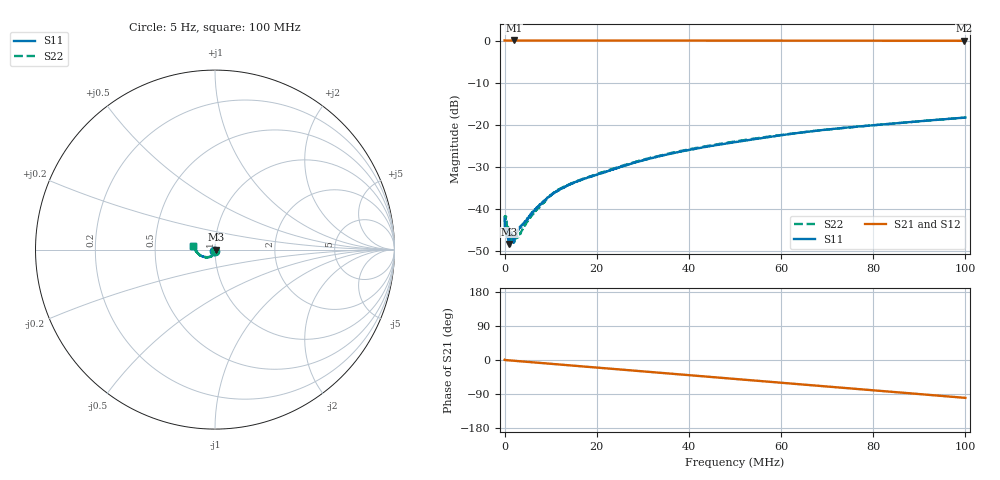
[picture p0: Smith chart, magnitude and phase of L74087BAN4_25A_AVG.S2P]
!Agilent Technologies,E5061B,MY49102235,A.02.00
!Date: Tue Jul 11 16:12:08 2023
!Data & Calibration Information:
!Freq	S11:SOLT2(ON)	S21:SOLT2(ON)	S12:SOLT2(ON)	S22:SOLT2(ON)
# Hz S RI R 50
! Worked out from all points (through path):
!   1600 points, 5 Hz to 100 MHz, reference 50 ohm
!   highest |S21| = 0.02 dB at 2.001 MHz (marker M1); lowest = -0.1 dB at 99.75 MHz (marker M2)
!   group delay of S21, straight-line fit = 2.78 ns
!   lowest |S11| = -48.3 dB at 1.001 MHz (marker M3), VSWR 1.01, Z = 50.4 - j0.0858 ohm
!   |S11| at or under -10 dB: start of sweep to end of sweep
!   |S22| runs from -48.9 to -18.3 dB; largest |S21 - S12| = 0.0025
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5  -0.00517 -0.00563  1.002 0.00803  1 0.0102  -0.00152 -0.00755
437778.6  0.00515 -0.000613  1.001 -0.00532  1.001 -0.00593  0.00665 -0.00226
625395.8  0.00509 -0.000666  1.002 -0.0104  1.002 -0.00996  0.00612 -0.00104
1000630  0.00374 -0.000852  1.001 -0.0163  1.001 -0.0159  0.00512 -0.00176
1563482  0.00431 -0.003  1.001 -0.0262  1.001 -0.0252  0.00313 -0.00357
2001256  0.00299 -0.00296  1.002 -0.0347  1.001 -0.0344  0.00315 -0.00267
2376490  0.00327 -0.00314  0.9996 -0.041  1 -0.0414  0.00393 -0.0028
3064420  0.00412 -0.00388  0.9998 -0.053  0.9991 -0.0531  0.00302 -0.00374
6003757  0.00327 -0.00824  0.9954 -0.1043  0.9956 -0.1041  0.00284 -0.00807
9505946  0.00138 -0.0136  0.9872 -0.1652  0.9874 -0.165  0.000785 -0.0136
1.156974e7  -0.000137 -0.0166  0.9808 -0.2004  0.9805 -0.2002  -0.00103 -0.0168
1.669794e7  -0.00412 -0.0218  0.9582 -0.2872  0.9582 -0.287  -0.00452 -0.022
2.582865e7  -0.0118 -0.03  0.9006 -0.4356  0.9005 -0.4355  -0.00974 -0.0314
3.333334e7  -0.021 -0.0363  0.8355 -0.5493  0.8355 -0.549  -0.0197 -0.0376
4.033771e7  -0.0308 -0.0403  0.7619 -0.6467  0.762 -0.6464  -0.0305 -0.0415
5.003127e7  -0.0457 -0.042  0.6419 -0.7655  0.6418 -0.7653  -0.046 -0.0433
6.672921e7  -0.0762 -0.0353  0.3941 -0.916  0.3944 -0.9161  -0.0755 -0.036
7.53596e7  -0.0902 -0.0255  0.2523 -0.9637  0.2524 -0.9637  -0.0896 -0.0267
8.33646e7  -0.1014 -0.0126  0.1158 -0.9887  0.1158 -0.9889  -0.1011 -0.0148
9.161976e7  -0.1117 0.00307  -0.0274 -0.994  -0.0274 -0.994  -0.1116 -0.000194
9.974984e7  -0.1197 0.0205  -0.1672 -0.9788  -0.167 -0.9791  -0.1197 0.0174
1e8  -0.1199 0.0211  -0.1714 -0.9782  -0.1713 -0.9784  -0.1201 0.0181
